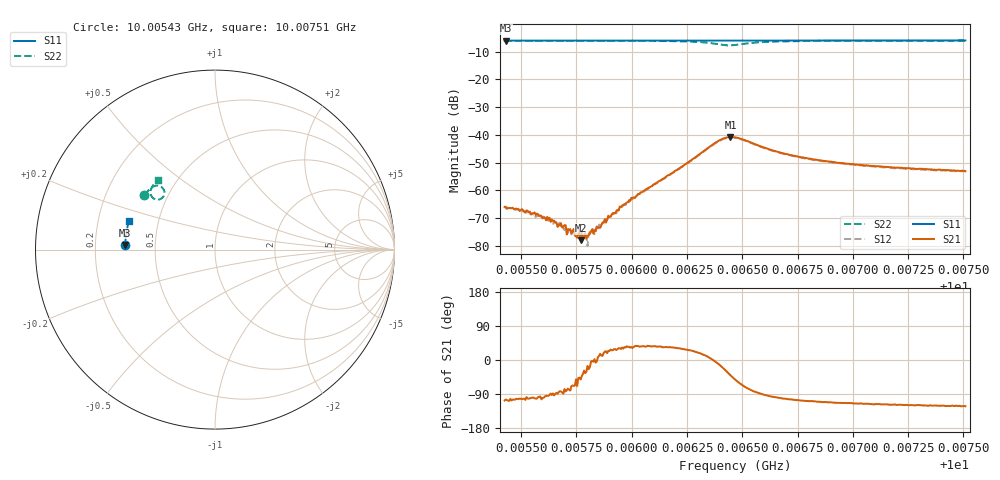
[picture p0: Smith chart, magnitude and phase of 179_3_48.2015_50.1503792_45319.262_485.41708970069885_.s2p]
#  HZ  S  RI  R  50.00
! Rohde & Schwarz Vector Network Analyzer
! Rohde-Schwarz,ZNB20-2Port,1311601062101988,3.16
! Created: UTC 3/20/2024, 11:44:04 AM
! freq[Hz]  re:S11  im:S11  re:S21  im:S21  re:S12  im:S12  re:S22  im:S22
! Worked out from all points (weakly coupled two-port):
!   401 points, 10.00543 GHz to 10.00751 GHz, reference 50 ohm
!   highest |S21| = -40.71 dB at 10.00645 GHz (marker M1); lowest = -78.0 dB at 10.00577 GHz (marker M2)
!   lowest |S11| = -6.0 dB at 10.00543 GHz (marker M3), VSWR 3.00, Z = 16.7 + j1.13 ohm
!   |S11| at or under -10 dB: nowhere
!   |S22| runs from -7.7 to -6.0 dB; largest |S21 - S12| = 0.00056
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1.0005425e10  -0.4999 0.0253  -0.000145 -0.000485  -0.000106 -0.000464  -0.3931 0.303
1.000543e10  -0.4998 0.0254  -0.000123 -0.000484  -9.88e-05 -0.000502  -0.3928 0.3034
1.0005566e10  -0.4994 0.0345  -7.36e-05 -0.000354  -1.44e-05 -0.00033  -0.3868 0.3115
1.0005675e10  -0.4992 0.0414  3.02e-05 -0.000232  -1.5e-06 -0.000263  -0.3818 0.3181
1.0005691e10  -0.4991 0.0425  3.73e-06 -0.000223  5.3e-05 -0.000199  -0.3809 0.3192
1.0005717e10  -0.499 0.0442  3.85e-05 -0.000191  7.19e-05 -0.000184  -0.3796 0.3208
1.0005738e10  -0.499 0.0456  7.43e-05 -0.000188  9.2e-05 -0.000161  -0.3787 0.322
1.0005769e10  -0.4989 0.0476  7.84e-05 -9.84e-05  0.000131 -0.000124  -0.3769 0.3239
1.0005774e10  -0.4988 0.048  0.000127 -0.000117  0.00011 -8.16e-05  -0.3766 0.3243
1.000579e10  -0.4988 0.049  0.000141 -9.72e-05  0.000127 -7.92e-05  -0.3757 0.3253
1.0005805e10  -0.4988 0.0501  0.000142 -6.39e-05  0.000154 -6.19e-05  -0.3749 0.3263
1.0005816e10  -0.4986 0.0508  0.00018 -1.43e-05  0.000171 -4.13e-05  -0.3742 0.3269
1.0005842e10  -0.4985 0.0524  0.000218 -1.45e-05  0.000221 5e-05  -0.3728 0.3286
1.0005956e10  -0.498 0.0598  0.00045 0.000292  0.000417 0.000293  -0.3652 0.3364
1.0006123e10  -0.4967 0.0706  0.0012 0.000859  0.0011 0.000864  -0.3501 0.3482
1.0006384e10  -0.494 0.0874  0.00739 -0.000886  0.00729 -0.000452  -0.2841 0.3304
1.0006446e10  -0.4934 0.0907  0.00705 -0.00593  0.0072 -0.00539  -0.2962 0.2865
1.0006467e10  -0.4932 0.0919  0.00567 -0.00707  0.00589 -0.00664  -0.3108 0.2792
1.000666e10  -0.4919 0.1042  -0.000787 -0.00492  -0.000558 -0.00486  -0.3594 0.3237
1.0006816e10  -0.4901 0.1142  -0.00116 -0.00347  -0.000988 -0.00343  -0.3527 0.3454
1.0007165e10  -0.4852 0.1363  -0.00122 -0.00232  -0.00106 -0.00233  -0.3339 0.3717
1.0007509e10  -0.4795 0.1577  -0.00118 -0.00189  -0.00109 -0.00192  -0.3161 0.39
